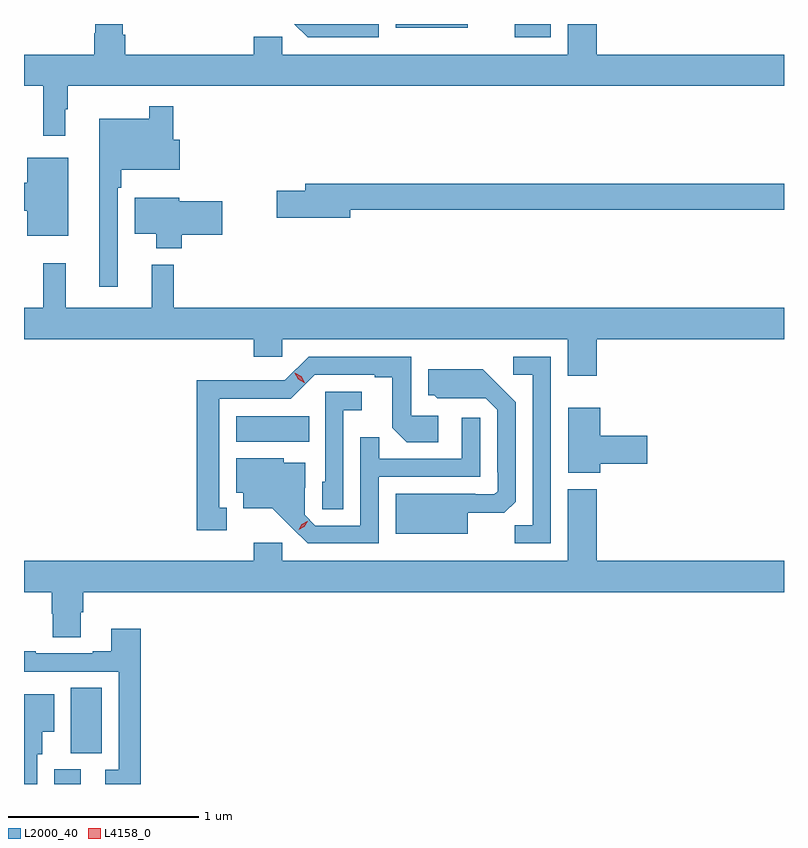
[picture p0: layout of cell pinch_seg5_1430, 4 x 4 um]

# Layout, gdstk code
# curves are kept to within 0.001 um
import gdstk
lib = gdstk.Library(unit=1e-6, precision=1e-09)
def R(c, l, rs):  # rectangles x0, y0, x1, y1
    for r in rs: c.add(gdstk.rectangle(r[:2], r[2:], *l))
def P(c, l, *ps):  # polygons
    for p in ps: c.add(gdstk.Polygon(p, *l))
L2000_40 = (2000, 40)
L4158_0 = (4158, 0)

pinch_seg5_1430 = lib.new_cell('pinch_seg5_1430')
R(pinch_seg5_1430, L2000_40, [(160.835,891.714,160.975,891.792), (160.922,891.877,161.086,892.22), (161.792,893.516,162.176,893.65), (163.258,895.644,163.449,895.714), (162.632,895.694,163.012,895.714), (161.603,895.713,161.743,895.714)])
P(pinch_seg5_1430, L2000_40, [(162.543,895.714),(162.099,895.714),(162.17,895.644),(162.543,895.644)],
  [(160.894,895.265),(160.906,895.265),(160.906,895.388),(164.676,895.388),(164.676,895.552),(163.691,895.552),(163.691,895.714),(163.538,895.714),(163.538,895.552),(162.036,895.552),(162.036,895.648),(161.885,895.648),(161.885,895.552),(161.21,895.552),(161.21,895.658),(161.197,895.658),(161.197,895.714),(161.05,895.714),(161.05,895.665),(161.045,895.665),(161.045,895.552),(160.676,895.552),(160.676,895.388),(160.777,895.388),(160.777,895.125),(160.894,895.125)],
  [(161.169,894.851),(161.189,894.851),(161.189,894.947),(161.497,894.947),(161.497,895.105),(161.462,895.105),(161.462,895.282),(161.334,895.282),(161.334,895.216),(161.072,895.216),(161.072,894.33),(161.169,894.33)],
  [(160.909,895.009),(160.694,895.009),(160.694,894.878),(160.676,894.878),(160.676,894.731),(160.694,894.731),(160.694,894.599),(160.909,894.599)],
  [(162.394,894.736),(164.676,894.736),(164.676,894.872),(162.155,894.872),(162.155,894.836),(162.006,894.836),(162.006,894.694),(162.394,894.694)],
  [(161.507,894.604),(161.719,894.604),(161.719,894.782),(161.494,894.782),(161.494,894.799),(161.258,894.799),(161.258,894.611),(161.372,894.611),(161.372,894.533),(161.507,894.533)],
  [(163.691,894.056),(164.676,894.056),(164.676,894.22),(161.465,894.22),(161.465,894.448),(161.348,894.448),(161.348,894.22),(160.895,894.22),(160.895,894.454),(160.777,894.454),(160.777,894.22),(160.676,894.22),(160.676,894.056),(161.885,894.056),(161.885,893.963),(162.036,893.963),(162.036,894.056),(163.538,894.056),(163.538,893.862),(163.691,893.862)],
  [(161.743,893.169),(161.704,893.169),(161.704,893.742),(162.081,893.742),(162.207,893.868),(162.521,893.868),(162.521,893.856),(162.615,893.856),(162.615,893.588),(162.691,893.512),(162.856,893.512),(162.856,893.652),(162.714,893.652),(162.714,893.964),(162.174,893.964),(162.048,893.838),(161.826,893.838),(161.826,893.84),(161.586,893.84),(161.586,893.049),(161.743,893.049)],
  [(163.449,893.964),(163.251,893.964),(163.251,893.868),(163.353,893.868),(163.353,893.075),(163.258,893.075),(163.258,892.98),(163.449,892.98)],
  [(163.012,893.141),(163.204,893.141),(163.263,893.2),(163.263,893.722),(163.091,893.896),(162.803,893.896),(162.803,893.76),(162.834,893.76),(162.85,893.744),(163.107,893.745),(163.167,893.685),(163.167,893.356),(163.17,893.356),(163.17,893.256),(163.152,893.238),(163.052,893.238),(163.052,893.242),(162.632,893.242),(162.632,893.03),(163.012,893.03)],
  [(162.357,893.681),(162.454,893.681),(162.454,893.778),(162.261,893.778),(162.261,893.304),(162.246,893.304),(162.246,893.161),(162.357,893.161)],
  [(163.708,893.399),(163.957,893.399),(163.957,893.546),(163.708,893.546),(163.708,893.695),(163.541,893.695),(163.541,893.351),(163.708,893.351)],
  [(162.543,893.331),(163.077,893.331),(163.077,893.641),(162.981,893.641),(162.981,893.427),(162.545,893.427),(162.545,893.54),(162.447,893.54),(162.447,893.073),(162.21,893.073),(162.153,893.13),(162.153,893.272),(162.157,893.272),(162.157,893.404),(162.042,893.404),(162.042,893.428),(161.792,893.428),(161.792,893.246),(161.831,893.246),(161.831,893.165),(161.983,893.165),(162.17,892.98),(162.543,892.98)],
  [(160.975,892.618),(160.988,892.618),(160.988,892.724),(164.676,892.724),(164.676,892.888),(163.691,892.888),(163.691,893.266),(163.538,893.266),(163.538,892.888),(162.036,892.888),(162.036,892.984),(161.885,892.984),(161.885,892.888),(160.676,892.888),(160.676,892.724),(160.823,892.724),(160.823,892.611),(160.828,892.611),(160.828,892.486),(160.975,892.486)],
  [(161.291,892.531),(161.135,892.531),(161.135,892.414),(161.039,892.414),(161.039,892.401),(160.739,892.401),(160.739,892.414),(160.676,892.414),(160.676,892.305),(161.175,892.305),(161.175,891.789),(161.103,891.789),(161.103,891.714),(161.291,891.714)],
  [(160.746,891.87),(160.771,891.87),(160.771,891.989),(160.834,891.989),(160.834,892.186),(160.676,892.186),(160.676,891.714),(160.746,891.714)])
P(pinch_seg5_1430, L4158_0, [(162.121,893.052),(162.121,893.053),(162.138,893.082),(162.168,893.098),(162.169,893.098),(162.169,893.098),(162.152,893.068),(162.121,893.052)],
  [(162.152,893.827),(162.12,893.845),(162.102,893.877),(162.102,893.878),(162.102,893.878),(162.134,893.859),(162.153,893.827),(162.153,893.827)])

lib.write_gds('pinch_seg5_1430.gds')
